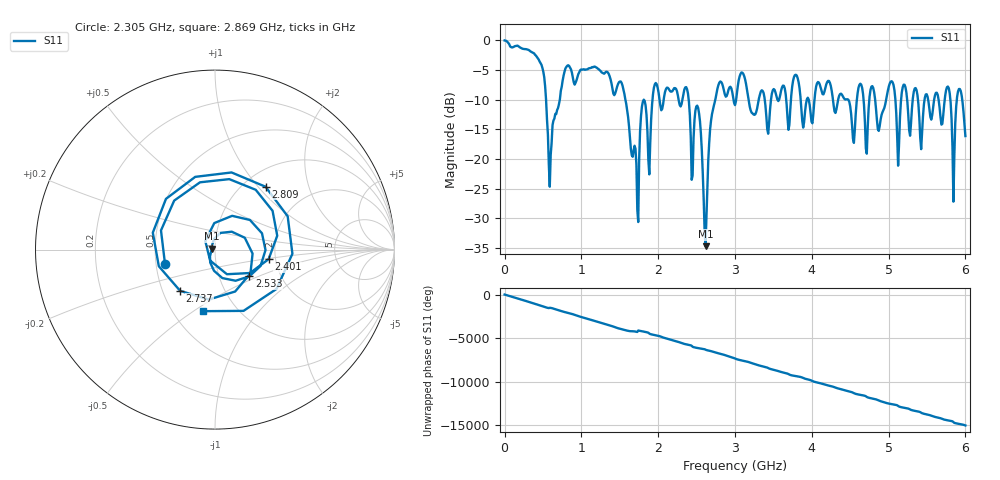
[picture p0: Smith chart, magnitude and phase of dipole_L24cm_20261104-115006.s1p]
! Dipole length 24 cm, measured 20261104-115006
# GHZ S RI R 50.000000000000
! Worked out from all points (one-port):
!   501 points, 1 MHz to 6 GHz, reference 50 ohm
!   lowest |S11| = -34.7 dB at 2.617 GHz (marker M1), VSWR 1.04, Z = 48.3 + j0.488 ohm
!   |S11| at or under -10 dB: 540.6 MHz to 719.9 MHz (179.3 MHz wide, 28.5 % of centre); 1.573 GHz to 1.927 GHz (353.2 MHz wide, 20.2 % of centre); 2.397 GHz to 2.744 GHz (346.4 MHz wide, 13.5 % of centre)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
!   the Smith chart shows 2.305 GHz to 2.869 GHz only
!   S11 on the Smith chart (normalised r, x): 2.305 GHz: 0.56, -0.10; 2.401 GHz: 1.84, -0.22; 2.533 GHz: 1.39, -0.44; 2.737 GHz: 0.61, -0.31; 2.809 GHz: 1.25, +1.10; 2.869 GHz: 0.70, -0.55
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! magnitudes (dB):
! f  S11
! 1 MHz  0.0
! 468.9 MHz  -3.8
! 588.9 MHz  -24.7
! 756.9 MHz  -6.8
! 1.501 GHz  -7.0
! 1.729 GHz  -28.5
! 1.813 GHz  -10.0
! 1.885 GHz  -22.6
! 1.957 GHz  -7.4
! 2.257 GHz  -9.3
! 2.305 GHz  -10.8
! 2.401 GHz  -10.4
! 2.449 GHz  -22.8
! 2.533 GHz  -12.3
! 2.617 GHz  -34.7
! 2.737 GHz  -10.4
! 2.809 GHz  -6.9
! 2.869 GHz  -9.1
! 3.001 GHz  -10.9
! 3.696 GHz  -15.1
! 3.756 GHz  -6.8
! 4.5 GHz  -11.1
! 5.04 GHz  -6.9
! 5.256 GHz  -12.5
! 5.772 GHz  -7.8
! 5.844 GHz  -27.2
! 5.928 GHz  -8.2
! 6 GHz  -16.1
